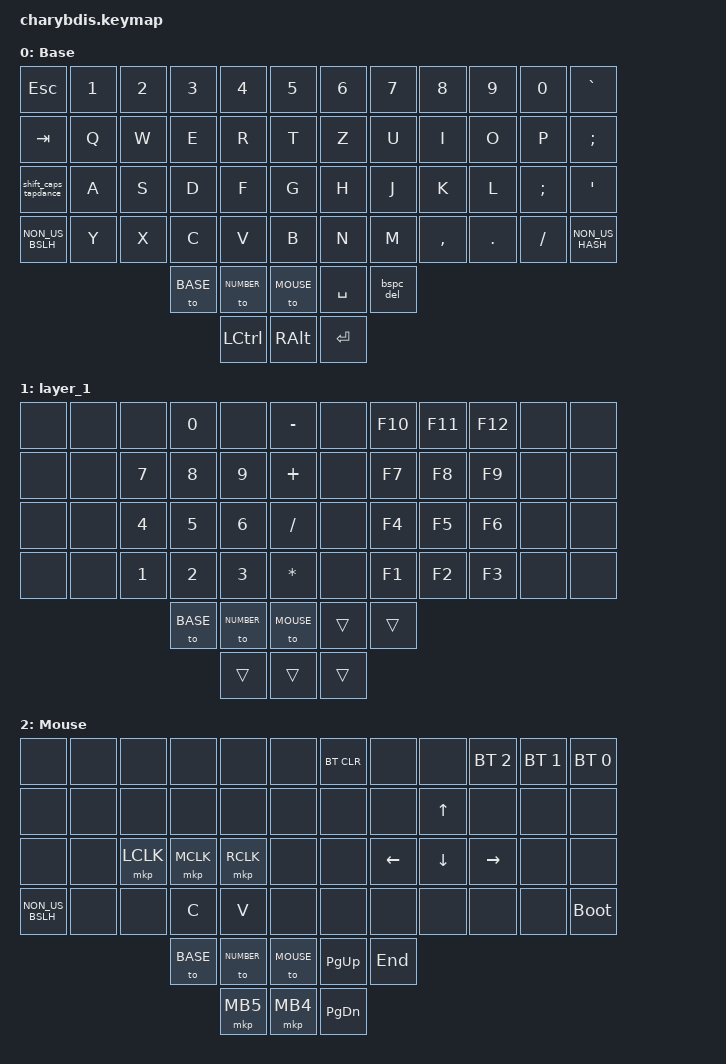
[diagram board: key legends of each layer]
#include <behaviors.dtsi>
#include <dt-bindings/zmk/bt.h>
#include <dt-bindings/zmk/keys.h>
#include <dt-bindings/zmk/mouse.h>

#define BASE 0
#define NUMBER 1
#define MOUSE 2

&lt {
    tapping-term-ms = <200>;
    flavor = "balanced";
    quick-tap-ms = <150>;
};

/ {
    combos {
        compatible = "zmk,combos";

        escc {
            bindings = <&kp ESC>;
            key-positions = <17 18>;
            layers = <0>;
        };
    };

    behaviors {
        shift_caps_tapdance: shift_caps_tapdance {
            compatible = "zmk,behavior-tap-dance";
            label = "SHIFT_CAPS_TAPDANCE";
            #binding-cells = <0>;

            tapping-term-ms = <200>;

            /* Single tap => LSHIFT, Double tap => CapsLock */
            bindings = <&kp LSHIFT>, <&kp CAPS>;
        };

        bspc_del: bspc_del {
            compatible = "zmk,behavior-mod-morph";
            label = "BSPC_DEL";
            #binding-cells = <0>;
            bindings = <&kp BSPC>, <&kp DEL>;
            mods = <(MOD_LCTL)>;
        };
    };

    keymap {
        compatible = "zmk,keymap";

        Base {
            bindings = <
&kp ESC                 &kp N1   &kp N2  &kp N3             &kp N4           &kp N5            &kp N6          &kp N7           &kp N8     &kp N9   &kp N0       &kp GRAVE
&kp TAB                 &kp Q    &kp W   &kp E              &kp R            &kp T             &kp Z           &kp U            &kp I      &kp O    &kp P        &kp SEMICOLON
&shift_caps_tapdance    &kp A    &kp S   &kp D              &kp F            &kp G             &kp H           &kp J            &kp K      &kp L    &kp SEMI     &kp APOS
&kp NON_US_BSLH         &kp Y    &kp X   &kp C              &kp V            &kp B             &kp N           &kp M            &kp COMMA  &kp DOT  &kp SLASH    &kp NON_US_HASH
                                         &to BASE           &to NUMBER       &to MOUSE         &kp SPACE       &bspc_del
                                                            &kp LEFT_CONTROL &kp RALT          &kp ENTER
            >;

            trackball-bindings = <&tmv_coarse>;
        };

        layer_1 {
            bindings = <
&none   &none   &none            &kp NUMBER_0  &none         &kp MINUS  &none   &kp F10     &kp F11     &kp F12     &none   &none
&none   &none   &kp NUMBER_7     &kp NUMBER_8  &kp NUMBER_9  &kp PLUS   &none   &kp F7      &kp F8      &kp F9      &none   &none
&none   &none   &kp NUMBER_4     &kp NUMBER_5  &kp NUMBER_6  &kp SLASH  &none   &kp F4      &kp F5      &kp F6      &none   &none
&none   &none   &kp NUMBER_1     &kp NUMBER_2  &kp NUMBER_3  &kp STAR   &none   &kp F1      &kp F2      &kp F3      &none   &none
                                 &to BASE      &to NUMBER    &to MOUSE  &trans  &trans
                                               &trans        &trans     &trans
            >;
        };

        Mouse {
            bindings = <
&none           &none         &none         &none         &none      &none         &bt BT_CLR  &none      &none         &bt BT_SEL 2  &bt BT_SEL 1  &bt BT_SEL 0
&none           &none         &none         &none         &none      &none         &none       &none      &kp UP        &none         &none         &none 
&none           &none         &mkp LCLK     &mkp MCLK     &mkp RCLK  &none         &none       &kp LEFT   &kp DOWN      &kp RIGHT     &none         &none
&kp NON_US_BSLH &none         &none         &kp C         &kp V      &none         &none       &none      &none         &none         &none         &bootloader
                                            &to BASE      &to NUMBER &to MOUSE     &kp PG_UP   &kp END
                                                          &mkp MB5   &mkp MB4      &kp PG_DN
            >;
        };
    };
};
